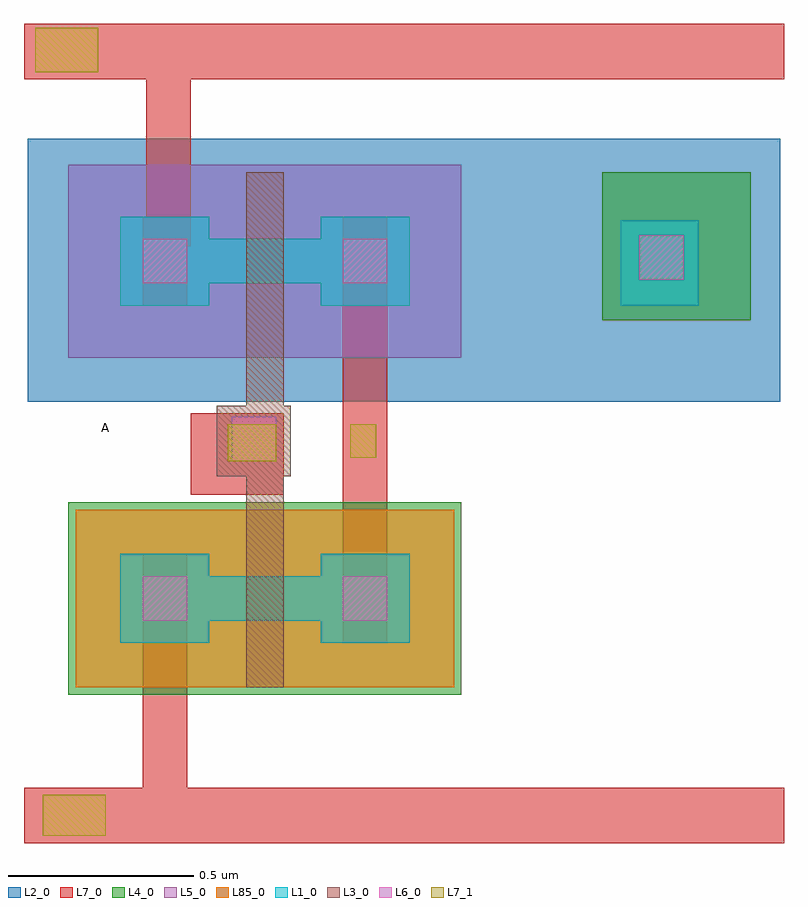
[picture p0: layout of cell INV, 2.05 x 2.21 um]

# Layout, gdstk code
import gdstk
lib = gdstk.Library(unit=1e-6, precision=5e-10)
def R(c, l, rs):  # rectangles x0, y0, x1, y1
    for r in rs: c.add(gdstk.rectangle(r[:2], r[2:], *l))
def A(c, l, x, y, w, h, nx, ny, dx, dy):  # array of equal rectangles
    R(c, l, [(x+i*dx, y+j*dy, x+i*dx+w, y+j*dy+h) for i in range(nx) for j in range(ny)])
L1_0 = (1, 0)
L2_0 = (2, 0)
L3_0 = (3, 0)
L4_0 = (4, 0)
L5_0 = (5, 0)
L6_0 = (6, 0)
L7_0 = (7, 0)
L7_1 = (7, 1)
L85_0 = (85, 0)

nmos1v_0 = lib.new_cell('nmos1v_0')
A(nmos1v_0, L1_0, -0.1, 0, 0.1, 0.12, 3, 1, 0.1, 0)
R(nmos1v_0, L1_0, [(-0.34,-0.06,-0.1,0.18), (0.2,-0.06,0.44,0.18)])
R(nmos1v_0, L3_0, [(0,-0.18,0.1,-0.16), (0,-0.16,0.1,0), (0,0,0.1,0.12), (0,0.12,0.1,0.28), (0,0.28,0.1,0.3)])
R(nmos1v_0, L4_0, [(-0.48,-0.2,0.58,0.32), (-0.18,-0.18,0.28,0.3)])
R(nmos1v_0, L6_0, [(-0.28,0,-0.16,0.12), (0.26,0,0.38,0.12)])
R(nmos1v_0, L7_0, [(-0.28,-0.06,-0.16,0.18), (0.26,-0.06,0.38,0.18)])
R(nmos1v_0, L85_0, [(-0.46,-0.18,0.56,0.3)])

pmos1v_1 = lib.new_cell('pmos1v_1')
A(pmos1v_1, L1_0, -0.1, 0, 0.1, 0.12, 3, 1, 0.1, 0)
R(pmos1v_1, L1_0, [(-0.34,-0.06,-0.1,0.18), (0.2,-0.06,0.44,0.18)])
R(pmos1v_1, L2_0, [(-0.46,-0.18,0.56,0.3)])
R(pmos1v_1, L3_0, [(0,-0.18,0.1,-0.16), (0,-0.16,0.1,0), (0,0,0.1,0.12), (0,0.12,0.1,0.28), (0,0.28,0.1,0.3)])
R(pmos1v_1, L5_0, [(-0.48,-0.2,0.58,0.32), (-0.18,-0.18,0.28,0.3)])
R(pmos1v_1, L6_0, [(-0.28,0,-0.16,0.12), (0.26,0,0.38,0.12)])
R(pmos1v_1, L7_0, [(-0.28,-0.06,-0.16,0.18), (0.26,-0.06,0.38,0.18)])

inv = lib.new_cell('INV')
R(inv, L1_0, [(-0.88,2.09,-0.67,2.32)])
R(inv, L2_0, [(-2.48,1.83,-0.45,2.54)])
R(inv, L3_0, [(-1.97,1.63,-1.77,1.82)])
R(inv, L4_0, [(-0.93,2.05,-0.53,2.45)])
R(inv, L6_0, [(-1.93,1.67,-1.81,1.79), (-0.83,2.16,-0.71,2.28)])
R(inv, L7_0, [(-2.49,0.64,-0.44,0.79), (-2.04,1.58,-1.79,1.8), (-2.49,2.7,-0.44,2.85)])
R(inv, L7_1, [(-2.44,0.66,-2.27,0.77), (-1.94,1.67,-1.81,1.77), (-1.61,1.68,-1.54,1.77), (-2.46,2.72,-2.29,2.84)])
inv.add(gdstk.FlexPath([(-1.84,2.03),(-1.84,1.4)], 0.1, ends="flush", simple_path=True, layer=3, datatype=0))  # L3_0
inv.add(gdstk.FlexPath([(-2.11,1.31),(-2.11,0.67)], 0.12, ends="flush", simple_path=True, layer=7, datatype=0))  # L7_0
inv.add(gdstk.FlexPath([(-2.1,2.25),(-2.1,2.85)], 0.12, ends="flush", simple_path=True, layer=7, datatype=0))  # L7_0
inv.add(gdstk.FlexPath([(-1.57,2.22),(-1.57,1.33)], 0.12, ends="flush", simple_path=True, layer=7, datatype=0))  # L7_0
inv.add(gdstk.Reference(nmos1v_0, (-1.89,1.24)))
inv.add(gdstk.Reference(pmos1v_1, (-1.89,2.15)))
inv.add(gdstk.Label('Abar', (0.19,1.84), layer=63, texttype=0))
inv.add(gdstk.Label('A', (-2.27,1.76), layer=63, texttype=0))
inv.add(gdstk.Label('vss', (-2.23,0.37), layer=63, texttype=0))
inv.add(gdstk.Label('vdd', (-2.55,3.05), layer=63, texttype=0))

lib.write_gds('INV.gds')
